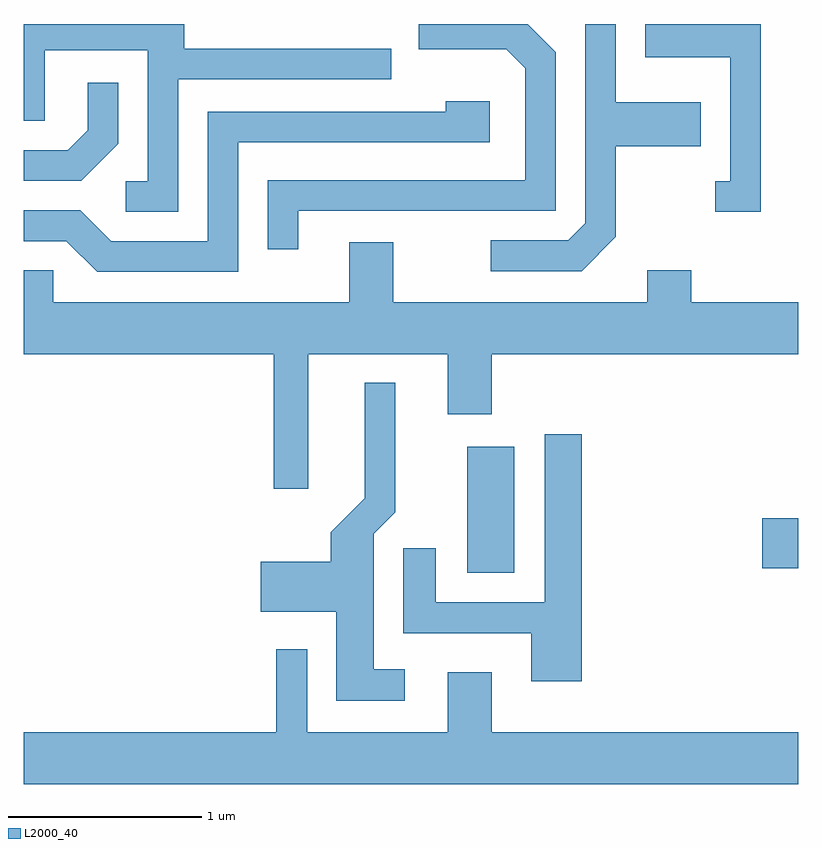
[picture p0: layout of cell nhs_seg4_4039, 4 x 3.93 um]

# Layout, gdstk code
import gdstk
lib = gdstk.Library(unit=1e-6, precision=1e-09)
def R(c, l, rs):  # rectangles x0, y0, x1, y1
    for r in rs: c.add(gdstk.rectangle(r[:2], r[2:], *l))
def P(c, l, *ps):  # polygons
    for p in ps: c.add(gdstk.Polygon(p, *l))
L2000_40 = (2000, 40)

nhs_seg4_4039 = lib.new_cell('nhs_seg4_4039')
R(nhs_seg4_4039, L2000_40, [(305.901,1309.146,306.144,1309.799), (307.426,1309.171,307.611,1309.429)])
P(nhs_seg4_4039, L2000_40, [(304.409,1311.696),(305.508,1311.696),(305.508,1311.854),(304.439,1311.854),(304.439,1311.982),(303.611,1311.982),(303.611,1311.481),(303.719,1311.481),(303.719,1311.846),(304.251,1311.846),(304.251,1311.169),(304.138,1311.169),(304.138,1311.011),(304.409,1311.011)],
  [(306.669,1310.884),(306.669,1311.351),(307.109,1311.351),(307.109,1311.579),(306.669,1311.579),(306.669,1311.982),(306.511,1311.982),(306.511,1310.952),(306.424,1310.864),(306.023,1310.864),(306.023,1310.706),(306.492,1310.706)],
  [(307.419,1311.982),(306.821,1311.982),(306.821,1311.811),(307.261,1311.811),(307.261,1311.169),(307.183,1311.169),(307.183,1311.011),(307.419,1311.011)],
  [(305.029,1311.016),(306.359,1311.016),(306.359,1311.837),(306.214,1311.982),(305.651,1311.982),(305.651,1311.851),(306.104,1311.851),(306.201,1311.754),(306.201,1311.174),(304.871,1311.174),(304.871,1310.818),(305.029,1310.818)],
  [(304.099,1311.364),(304.099,1311.678),(303.941,1311.678),(303.941,1311.432),(303.839,1311.329),(303.611,1311.329),(303.611,1311.171),(303.907,1311.171)],
  [(304.719,1311.371),(306.019,1311.371),(306.019,1311.584),(305.791,1311.584),(305.791,1311.529),(304.561,1311.529),(304.561,1310.859),(304.062,1310.859),(303.902,1311.019),(303.611,1311.019),(303.611,1310.861),(303.829,1310.861),(303.989,1310.701),(304.719,1310.701)],
  [(305.079,1310.276),(305.801,1310.276),(305.801,1309.966),(306.029,1309.966),(306.029,1310.276),(307.611,1310.276),(307.611,1310.544),(307.059,1310.544),(307.059,1310.709),(306.831,1310.709),(306.831,1310.544),(305.519,1310.544),(305.519,1310.854),(305.291,1310.854),(305.291,1310.544),(303.764,1310.544),(303.764,1310.709),(303.611,1310.709),(303.611,1310.276),(304.901,1310.276),(304.901,1309.581),(305.079,1309.581)],
  [(305.578,1308.649),(305.419,1308.649),(305.419,1309.349),(305.529,1309.459),(305.529,1310.128),(305.371,1310.128),(305.371,1309.532),(305.196,1309.357),(305.196,1309.204),(304.836,1309.204),(304.836,1308.946),(305.226,1308.946),(305.226,1308.486),(305.578,1308.486)],
  [(306.494,1309.864),(306.301,1309.864),(306.301,1308.994),(305.739,1308.994),(305.739,1309.273),(305.571,1309.273),(305.571,1308.836),(306.231,1308.836),(306.231,1308.586),(306.494,1308.586)],
  [(307.611,1308.324),(306.029,1308.324),(306.029,1308.634),(305.801,1308.634),(305.801,1308.324),(305.074,1308.324),(305.074,1308.753),(304.916,1308.753),(304.916,1308.324),(303.611,1308.324),(303.611,1308.056),(307.611,1308.056)])

lib.write_gds('nhs_seg4_4039.gds')
